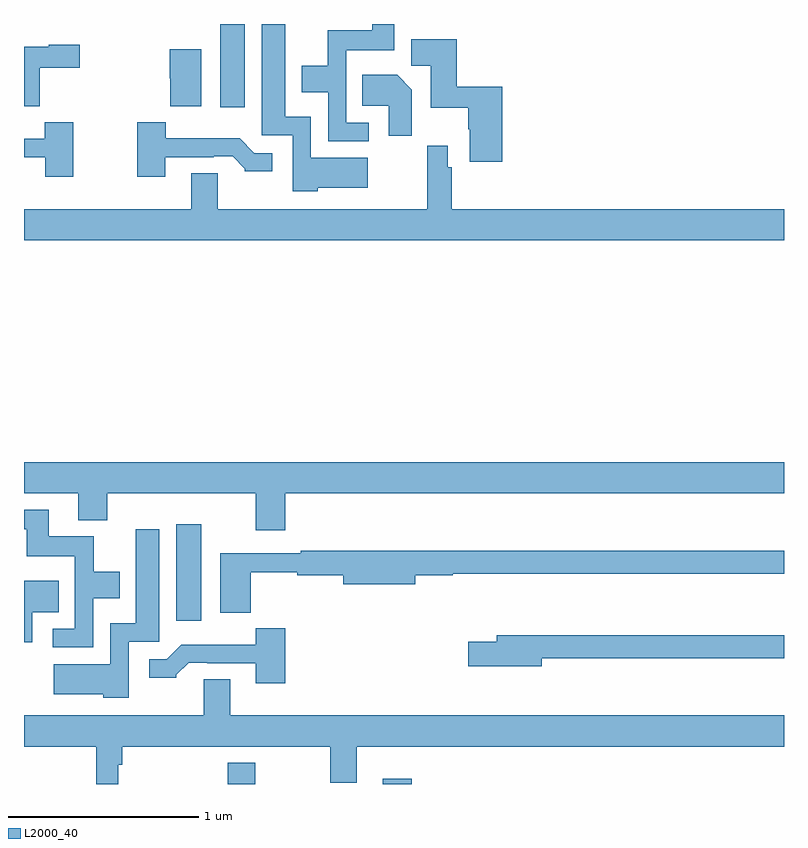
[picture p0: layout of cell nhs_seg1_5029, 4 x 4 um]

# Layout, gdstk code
import gdstk
lib = gdstk.Library(unit=1e-6, precision=1e-09)
def R(c, l, rs):  # rectangles x0, y0, x1, y1
    for r in rs: c.add(gdstk.rectangle(r[:2], r[2:], *l))
def P(c, l, *ps):  # polygons
    for p in ps: c.add(gdstk.Polygon(p, *l))
L2000_40 = (2000, 40)

nhs_seg1_5029 = lib.new_cell('nhs_seg1_5029')
R(nhs_seg1_5029, L2000_40, [(384.073,554.199,384.216,554.311), (384.887,554.199,385.04,554.227), (383.801,555.057,383.932,555.565), (384.032,557.76,384.163,558.199), (383.111,558.198,383.259,558.199), (383.596,558.198,383.743,558.199)])
P(nhs_seg1_5029, L2000_40, [(384.546,557.336),(384.808,557.336),(384.808,557.494),(384.51,557.494),(384.51,557.71),(384.376,557.71),(384.376,558.199),(384.251,558.199),(384.251,557.613),(384.414,557.613),(384.414,557.318),(384.546,557.318)],
  [(384.814,557.679),(384.696,557.679),(384.696,558.062),(384.949,558.062),(384.949,558.199),(384.833,558.199),(384.833,558.166),(384.598,558.166),(384.598,557.98),(384.461,557.98),(384.461,557.84),(384.6,557.84),(384.6,557.583),(384.814,557.583)],
  [(385.517,557.869),(385.277,557.869),(385.277,558.118),(385.037,558.118),(385.037,557.98),(385.142,557.98),(385.142,557.759),(385.339,557.759),(385.339,557.644),(385.346,557.644),(385.346,557.475),(385.517,557.475)],
  [(383.084,557.969),(383.293,557.969),(383.293,558.091),(383.13,558.091),(383.13,558.079),(383,558.079),(383,557.765),(383.084,557.765)],
  [(383.932,558.067),(383.768,558.067),(383.768,557.913),(383.77,557.913),(383.77,557.765),(383.932,557.765)],
  [(385.042,557.854),(384.964,557.932),(384.781,557.932),(384.781,557.768),(384.92,557.768),(384.92,557.61),(385.042,557.61)],
  [(383.259,557.683),(383.109,557.683),(383.109,557.596),(383,557.596),(383,557.499),(383.111,557.499),(383.111,557.394),(383.259,557.394)],
  [(383.743,557.499),(383.999,557.499),(383.999,557.502),(384.098,557.502),(384.162,557.438),(384.162,557.423),(384.307,557.423),(384.307,557.52),(384.213,557.52),(384.135,557.599),(383.746,557.599),(383.746,557.683),(383.596,557.683),(383.596,557.394),(383.743,557.394)],
  [(387,557.224),(385.25,557.224),(385.25,557.444),(385.23,557.444),(385.23,557.557),(385.122,557.557),(385.122,557.224),(384.019,557.224),(384.019,557.414),(383.879,557.414),(383.879,557.224),(383,557.224),(383,557.06),(387,557.06)],
  [(384.374,555.728),(387,555.728),(387,555.892),(383,555.892),(383,555.728),(383.285,555.728),(383.285,555.587),(383.438,555.587),(383.438,555.728),(384.221,555.728),(384.221,555.534),(384.374,555.534)],
  [(383.364,555.176),(383.503,555.176),(383.503,555.316),(383.367,555.316),(383.367,555.502),(383.131,555.502),(383.131,555.643),(383,555.643),(383,555.54),(383.015,555.54),(383.015,555.398),(383.268,555.398),(383.268,555.015),(383.151,555.015),(383.151,554.919),(383.364,554.919)],
  [(383.55,554.949),(383.713,554.949),(383.713,555.541),(383.588,555.541),(383.588,555.046),(383.454,555.046),(383.454,554.83),(383.157,554.83),(383.157,554.672),(383.418,554.672),(383.418,554.654),(383.55,554.654)],
  [(384.194,555.313),(384.438,555.313),(384.438,555.298),(384.68,555.298),(384.68,555.251),(385.06,555.251),(385.06,555.298),(385.256,555.298),(385.256,555.306),(387,555.306),(387,555.427),(384.457,555.427),(384.457,555.414),(384.032,555.414),(384.032,555.101),(384.194,555.101)],
  [(383.044,555.104),(383.183,555.104),(383.183,555.268),(383,555.268),(383,554.946),(383.044,554.946)],
  [(384.374,555.019),(384.219,555.019),(384.219,554.932),(383.827,554.932),(383.751,554.856),(383.658,554.856),(383.658,554.759),(383.802,554.759),(383.802,554.774),(383.866,554.838),(383.965,554.838),(383.965,554.835),(384.221,554.835),(384.221,554.73),(384.374,554.73)],
  [(385.726,554.862),(387,554.862),(387,554.983),(385.487,554.983),(385.487,554.949),(385.338,554.949),(385.338,554.819),(385.726,554.819)],
  [(383.496,554.3),(383.516,554.3),(383.516,554.396),(384.611,554.396),(384.611,554.206),(384.751,554.206),(384.751,554.396),(387,554.396),(387,554.56),(384.085,554.56),(384.085,554.75),(383.945,554.75),(383.945,554.56),(383,554.56),(383,554.396),(383.38,554.396),(383.38,554.199),(383.496,554.199)])

lib.write_gds('nhs_seg1_5029.gds')
